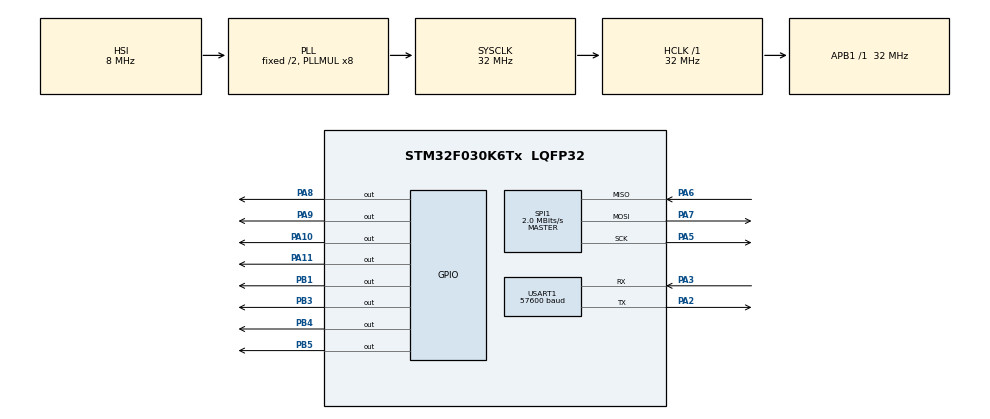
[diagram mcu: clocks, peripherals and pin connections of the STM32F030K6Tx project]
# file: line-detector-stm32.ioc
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Dma.Request0=USART1_RX
Dma.Request1=USART1_TX
Dma.USART1_RX.0.Direction=DMA_PERIPH_TO_MEMORY
Dma.USART1_RX.0.Instance=DMA1_Channel3
Dma.USART1_RX.0.MemDataAlignment=DMA_MDATAALIGN_BYTE
Dma.USART1_RX.0.MemInc=DMA_MINC_ENABLE
Dma.USART1_RX.0.Mode=DMA_CIRCULAR
Dma.USART1_RX.0.PeriphDataAlignment=DMA_PDATAALIGN_BYTE
Dma.USART1_RX.0.PeriphInc=DMA_PINC_DISABLE
Dma.USART1_RX.0.Priority=DMA_PRIORITY_LOW
Dma.USART1_TX.1.Direction=DMA_MEMORY_TO_PERIPH
Dma.USART1_TX.1.Instance=DMA1_Channel2
Dma.USART1_TX.1.MemDataAlignment=DMA_MDATAALIGN_BYTE
Dma.USART1_TX.1.MemInc=DMA_MINC_ENABLE
Dma.USART1_TX.1.Mode=DMA_NORMAL
Dma.USART1_TX.1.PeriphDataAlignment=DMA_PDATAALIGN_BYTE
Dma.USART1_TX.1.PeriphInc=DMA_PINC_DISABLE
Dma.USART1_TX.1.Priority=DMA_PRIORITY_LOW
Mcu.Family=STM32F0
Mcu.Name=STM32F030K6Tx
Mcu.Package=LQFP32
NVIC.DMA1_Channel2_3_IRQn=true\:0\:0\:false\:false\:true\:false\:true
NVIC.SPI1_IRQn=true\:0\:0\:false\:false\:true\:true\:true
NVIC.USART1_IRQn=true\:0\:0\:false\:false\:true\:true\:true
PA10.Signal=GPIO_Output
PA11.Signal=GPIO_Output
PA13.Mode=Serial_Wire
PA13.Signal=SYS_SWDIO
PA14.Mode=Serial_Wire
PA14.Signal=SYS_SWCLK
PA2.Mode=Asynchronous
PA2.Signal=USART1_TX
PA3.Mode=Asynchronous
PA3.Signal=USART1_RX
PA5.Mode=Full_Duplex_Master
PA5.Signal=SPI1_SCK
PA6.Mode=Full_Duplex_Master
PA6.Signal=SPI1_MISO
PA7.Mode=Full_Duplex_Master
PA7.Signal=SPI1_MOSI
PA8.Signal=GPIO_Output
PA9.Signal=GPIO_Output
PB1.Signal=GPIO_Output
PB3.Signal=GPIO_Output
PB4.Signal=GPIO_Output
PB5.Signal=GPIO_Output
ProjectManager.HeapSize=0x200
ProjectManager.StackSize=0x400
ProjectManager.TargetToolchain=SW4STM32
RCC.AHBFreq_Value=32000000
RCC.APB1Freq_Value=32000000
RCC.APB1TimFreq_Value=32000000
RCC.HCLKFreq_Value=32000000
RCC.PLLMUL=RCC_PLL_MUL8
RCC.SYSCLKFreq_VALUE=32000000
RCC.SYSCLKSource=RCC_SYSCLKSOURCE_PLLCLK
SPI1.BaudRatePrescaler=SPI_BAUDRATEPRESCALER_16
SPI1.CalculateBaudRate=2.0 MBits/s
SPI1.DataSize=SPI_DATASIZE_8BIT
SPI1.Direction=SPI_DIRECTION_2LINES
SPI1.Mode=SPI_MODE_MASTER
SPI1.VirtualType=VM_MASTER
USART1.BaudRate=57600
USART1.VirtualMode-Asynchronous=VM_ASYNC
board=custom

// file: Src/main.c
/* USER CODE BEGIN Header */
/**
  ******************************************************************************
  * @file           : main.c
  * @brief          : Main program body
  ******************************************************************************
  * @attention
  *
  * <h2><center>&copy; Copyright (c) 2019 STMicroelectronics.
  * All rights reserved.</center></h2>
  *
  * This software component is licensed by ST under BSD 3-Clause license,
  * the "License"; You may not use this file except in compliance with the
  * License. You may obtain a copy of the License at:
  *                        opensource.org/licenses/BSD-3-Clause
  *
  ******************************************************************************
  */
/* USER CODE END Header */

#include "main.h"
#include "dma.h"
#include "spi.h"
#include "usart.h"
#include "gpio.h"

/* USER CODE BEGIN Includes */
#include "config.h"
#include "linepanel.h"
#include "linepos.h"
#include "linefilter.h"

#include <micro/math/numeric.h>
#include <micro/panel/panelLink.h>
#include <micro/panel/LineDetectPanelData.h>

#include <stdlib.h>
#include <string.h>
/* USER CODE END Includes */

/* USER CODE BEGIN PM */
#define uart_cmd (&huart1)
/* USER CODE END PM */

/* USER CODE BEGIN PV */
/* Private variables ---------------------------------------------------------*/
static bool indicatorLedsEnabled = false;
static panelLink_t panelLink;

/* USER CODE END PV */

void SystemClock_Config(void);
/* USER CODE BEGIN PFP */
/* Private function prototypes -----------------------------------------------*/

static void handleRxData(const lineDetectPanelDataIn_t *rxData) {
    indicatorLedsEnabled = !!(rxData->flags & LINE_DETECT_PANEL_FLAG_INDICATOR_LEDS_ENABLED);
}

static int compare_trackedLine(const void *a, const void *b) {
    return ((const trackedLine_t*)a)->pos_mm < ((const trackedLine_t*)b)->pos_mm ? -1 :
           ((const trackedLine_t*)a)->pos_mm > ((const trackedLine_t*)b)->pos_mm ? 1 : 0;
}

static void fillTxData(lineDetectPanelDataOut_t *txData, const trackedLines_t *lines) {

    for (uint8_t i = 0; i < lines->numLines; ++i) {
        txData->values[i] = lines->values[i];
    }

    for (uint8_t i = lines->numLines; i < MAX_NUM_LINES; ++i) {
        trackedLine_t *l = &txData->values[i];
        l->pos_mm = 0;
        l->id = INVALID_LINE_IDX;
    }

    qsort(txData->values, lines->numLines, sizeof(trackedLine_t), compare_trackedLine);
}

/* USER CODE END PFP */

int main(void)
{

  /* MCU Configuration--------------------------------------------------------*/

  /* Reset of all peripherals, Initializes the Flash interface and the Systick. */
  HAL_Init();

  /* Configure the system clock */
  SystemClock_Config();

  /* Initialize all configured peripherals */
  MX_GPIO_Init();
  MX_DMA_Init();
  MX_SPI1_Init();
  MX_USART1_UART_Init();
  /* USER CODE BEGIN 2 */

  linePos_t linesData;
  lineFilter_t lineFilter;

  uint8_t measurements[NUM_OPTOS];
  uint8_t leds[NUM_OPTOS / 8] = { 0, 0, 0, 0 };
  uint32_t nextLedToggleTime  = HAL_GetTick();
  lineDetectPanelDataIn_t rxData;
  lineDetectPanelDataOut_t txData;
  bool prevConnected = false;
  trackedLines_t trackedLines;
  trackedLines.numLines = 0;

  linepanel_initialize();
  linepos_initialize(&linesData);
  linefilter_initialize(&lineFilter);

  lineDetectPanelDataIn_t rxDataBuffer1, rxDataBuffer2;
  lineDetectPanelDataOut_t txDataBuffer;
  panelLink_initialize((panelLink_t*)&panelLink, PanelLinkRole_Slave, uart_cmd,
      &rxDataBuffer1, &rxDataBuffer2, sizeof(lineDetectPanelDataIn_t), LINE_DETECT_PANEL_LINK_IN_TIMEOUT_MS,
      &txDataBuffer, sizeof(lineDetectPanelDataOut_t), LINE_DETECT_PANEL_LINK_OUT_PERIOD_MS);

  /* USER CODE END 2 */

  /* Infinite loop */
  /* USER CODE BEGIN WHILE */

  while (1) {

      panelLink_update((panelLink_t*)&panelLink);
      const bool isConnected = panelLink_isConnected((const panelLink_t*)&panelLink);

      if (panelLink_readAvailable((panelLink_t*)&panelLink, &rxData)) {
          handleRxData(&rxData);
      }

      linepanel_read_optos(measurements);
      linepos_calc(&linesData, measurements);
      linefilter_apply(&lineFilter, &linesData.lines, &trackedLines);

      if (panelLink_shouldSend((panelLink_t*)&panelLink)) {
          fillTxData(&txData, &trackedLines);
          panelLink_send((panelLink_t*)&panelLink, &txData);
      }

      if (isConnected) {
          if (indicatorLedsEnabled) {
              linepos_set_leds(&trackedLines, leds);
              linepanel_write_leds(leds);
          } else if (!prevConnected) { // resets LEDS after blinking
              for (uint8_t i = 0; i < NUM_OPTOS / 8; ++i) {
                  leds[i] = 0x00;
              }
              linepanel_write_leds(leds);
          }
      } else if (HAL_GetTick() >= nextLedToggleTime) {
          nextLedToggleTime += 250;
          for (uint8_t i = 1; i < NUM_OPTOS / 8; ++i) {
              leds[i] = 0x00;
          }
          leds[0] = leds[0] == 0x00 ? 0x80 : 0x00;
          linepanel_write_leds(leds);
      }

      prevConnected = isConnected;

    /* USER CODE END WHILE */

  }
}

void SystemClock_Config(void)
{
  RCC_OscInitTypeDef RCC_OscInitStruct = {0};
  RCC_ClkInitTypeDef RCC_ClkInitStruct = {0};
  RCC_PeriphCLKInitTypeDef PeriphClkInit = {0};

  /** Initializes the CPU, AHB and APB busses clocks
  */
  RCC_OscInitStruct.OscillatorType = RCC_OSCILLATORTYPE_HSI;
  RCC_OscInitStruct.HSIState = RCC_HSI_ON;
  RCC_OscInitStruct.HSICalibrationValue = RCC_HSICALIBRATION_DEFAULT;
  RCC_OscInitStruct.PLL.PLLState = RCC_PLL_ON;
  RCC_OscInitStruct.PLL.PLLSource = RCC_PLLSOURCE_HSI;
  RCC_OscInitStruct.PLL.PLLMUL = RCC_PLL_MUL8;
  RCC_OscInitStruct.PLL.PREDIV = RCC_PREDIV_DIV1;
  if (HAL_RCC_OscConfig(&RCC_OscInitStruct) != HAL_OK)
  {
    Error_Handler();
  }
  /** Initializes the CPU, AHB and APB busses clocks
  */
  RCC_ClkInitStruct.ClockType = RCC_CLOCKTYPE_HCLK|RCC_CLOCKTYPE_SYSCLK
                              |RCC_CLOCKTYPE_PCLK1;
  RCC_ClkInitStruct.SYSCLKSource = RCC_SYSCLKSOURCE_PLLCLK;
  RCC_ClkInitStruct.AHBCLKDivider = RCC_SYSCLK_DIV1;
  RCC_ClkInitStruct.APB1CLKDivider = RCC_HCLK_DIV1;

  if (HAL_RCC_ClockConfig(&RCC_ClkInitStruct, FLASH_LATENCY_1) != HAL_OK)
  {
    Error_Handler();
  }
  PeriphClkInit.PeriphClockSelection = RCC_PERIPHCLK_USART1;
  PeriphClkInit.Usart1ClockSelection = RCC_USART1CLKSOURCE_PCLK1;
  if (HAL_RCCEx_PeriphCLKConfig(&PeriphClkInit) != HAL_OK)
  {
    Error_Handler();
  }
}

/* USER CODE BEGIN 4 */

void HAL_UART_RxCpltCallback(UART_HandleTypeDef *huart) {
    if (huart == &huart1) {
        panelLink_onNewRxData((panelLink_t*)&panelLink);
    }
}

/* USER CODE END 4 */

void Error_Handler(void)
{
  while(1)
  {
  }
}

/************************ (C) COPYRIGHT STMicroelectronics *****END OF FILE****/
